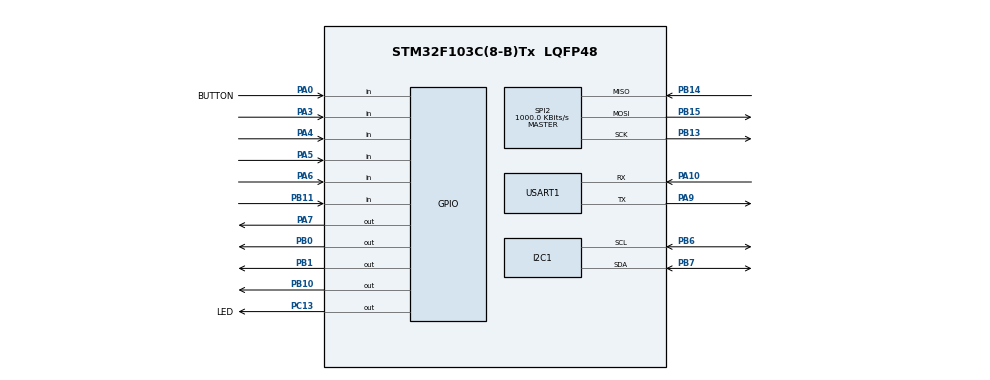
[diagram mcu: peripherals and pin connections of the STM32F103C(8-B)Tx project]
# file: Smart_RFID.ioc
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Mcu.Family=STM32F1
Mcu.Name=STM32F103C(8-B)Tx
Mcu.Package=LQFP48
NVIC.PriorityGroup=NVIC_PRIORITYGROUP_4
PA0-WKUP.GPIO_Label=BUTTON
PA0-WKUP.GPIO_PuPd=GPIO_PULLUP
PA0-WKUP.Signal=GPIO_Input
PA10.Mode=Asynchronous
PA10.Signal=USART1_RX
PA13.Mode=Serial_Wire
PA13.Signal=SYS_JTMS-SWDIO
PA14.Mode=Serial_Wire
PA14.Signal=SYS_JTCK-SWCLK
PA3.GPIO_PuPd=GPIO_PULLUP
PA3.Signal=GPIO_Input
PA4.GPIO_PuPd=GPIO_PULLUP
PA4.Signal=GPIO_Input
PA5.GPIO_PuPd=GPIO_PULLUP
PA5.Signal=GPIO_Input
PA6.GPIO_PuPd=GPIO_PULLUP
PA6.Signal=GPIO_Input
PA7.Signal=GPIO_Output
PA9.Mode=Asynchronous
PA9.Signal=USART1_TX
PB0.Signal=GPIO_Output
PB1.Signal=GPIO_Output
PB10.Signal=GPIO_Output
PB11.GPIO_PuPd=GPIO_PULLUP
PB11.Signal=GPIO_Input
PB13.Mode=Full_Duplex_Master
PB13.Signal=SPI2_SCK
PB14.Mode=Full_Duplex_Master
PB14.Signal=SPI2_MISO
PB15.Mode=Full_Duplex_Master
PB15.Signal=SPI2_MOSI
PB6.Mode=I2C
PB6.Signal=I2C1_SCL
PB7.Mode=I2C
PB7.Signal=I2C1_SDA
PC13-TAMPER-RTC.GPIO_Label=LED
PC13-TAMPER-RTC.Signal=GPIO_Output
PD0-OSC_IN.Mode=HSE-External-Oscillator
PD0-OSC_IN.Signal=RCC_OSC_IN
PD1-OSC_OUT.Mode=HSE-External-Oscillator
PD1-OSC_OUT.Signal=RCC_OSC_OUT
ProjectManager.HeapSize=0x200
ProjectManager.StackSize=0x400
ProjectManager.TargetToolchain=STM32CubeIDE
RCC.APB1Freq_Value=8000000
RCC.APB2Freq_Value=8000000
SPI2.BaudRatePrescaler=SPI_BAUDRATEPRESCALER_8
SPI2.CalculateBaudRate=1000.0 KBits/s
SPI2.Direction=SPI_DIRECTION_2LINES
SPI2.Mode=SPI_MODE_MASTER
SPI2.VirtualType=VM_MASTER
USART1.VirtualMode=VM_ASYNC
board=custom

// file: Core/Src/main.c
/* USER CODE BEGIN Header */
/**
  ******************************************************************************
  * @file           : main.c
  * @brief          : Main program body
  ******************************************************************************
  * @attention
  *
  * Copyright (c) 2025 STMicroelectronics.
  * All rights reserved.
  *
  * This software is licensed under terms that can be found in the LICENSE file
  * in the root directory of this software component.
  * If no LICENSE file comes with this software, it is provided AS-IS.
  *
  ******************************************************************************
  */
/* USER CODE END Header */
#include "main.h"

/* USER CODE BEGIN Includes */
#include "i2clcd.h"
#include "MFRC522.h"
#include <stdio.h>
#include "rtc.h"
/* USER CODE END Includes */

/* USER CODE BEGIN PM */
char str1[17]={'\0'};
char str2[17]={'\0'};
char str3[17]={'\0'};
char str4[17]={'\0'};
/* USER CODE END PM */

I2C_HandleTypeDef hi2c1;

SPI_HandleTypeDef hspi2;

UART_HandleTypeDef huart1;

void SystemClock_Config(void);
static void MX_GPIO_Init(void);
static void MX_USART1_UART_Init(void);
static void MX_I2C1_Init(void);
static void MX_SPI2_Init(void);

/* USER CODE BEGIN 0 */
uint8_t keyPad_char;
char data[3] = "00";
char uart_rx_buffer[10];
char uart_tx_buffer[64];
uint8_t hour, min, sec;
void send_uart(const char *msg) {
    HAL_UART_Transmit(&huart1, (uint8_t *)msg, strlen(msg), HAL_MAX_DELAY);
}

void get_time_from_user() {
    send_uart("Enter time in HHMMSS format (e.g., 145959):\r\n");
    HAL_UART_Receive(&huart1, (uint8_t *)uart_rx_buffer, 6, HAL_MAX_DELAY);

    hour = (uart_rx_buffer[0] - '0') * 10 + (uart_rx_buffer[1] - '0');
    min  = (uart_rx_buffer[2] - '0') * 10 + (uart_rx_buffer[3] - '0');
    sec  = (uart_rx_buffer[4] - '0') * 10 + (uart_rx_buffer[5] - '0');

    DS1307_SetHour(hour);
    DS1307_SetMinute(min);
    DS1307_SetSecond(sec);
    send_uart("Time set!\r\n");
}

void display_time_loop() {
    while (1) {
        hour = DS1307_GetHour();
        min = DS1307_GetMinute();
        sec = DS1307_GetSecond();

        snprintf(uart_tx_buffer, sizeof(uart_tx_buffer), "Time: %02d:%02d:%02d\r\n", hour, min, sec);
        send_uart(uart_tx_buffer);

        HAL_Delay(1000);
    }
}
/* USER CODE END 0 */

int main(void)
{

  /* USER CODE BEGIN 1 */
	int comm_error_count = 0;
  /* USER CODE END 1 */

  /* MCU Configuration--------------------------------------------------------*/

  /* Reset of all peripherals, Initializes the Flash interface and the Systick. */
  HAL_Init();

  /* Configure the system clock */
  SystemClock_Config();

  /* Initialize all configured peripherals */
  MX_GPIO_Init();
  MX_USART1_UART_Init();
  MX_I2C1_Init();
  MX_SPI2_Init();
  /* USER CODE BEGIN 2 */
  const char *DAYS_OF_WEEK[7] = { "Sun", "Mon", "Tue", "Wed", "Thur", "Fri", "Sat" };
  DS1307_Init(&hi2c1);
  lcd_init();
  lcd_clear();
  DS1307_SetTimeZone(+8, 00);
  DS1307_SetDate(29);
  DS1307_SetMonth(2);
  DS1307_SetYear(2024);
  DS1307_SetDayOfWeek(4);
  DS1307_SetHour(23);
  DS1307_SetMinute(59);
  DS1307_SetSecond(30);

  lcd_write("Group 12"		  , 0, 0);  // line 0, column 0
  lcd_write("RFID CARD READER", 1, 0);  // line 1, column 0

  HAL_GPIO_WritePin(RC522_Rst_GPIO_Port, RC522_Rst_Pin, GPIO_PIN_SET);

  HAL_Delay(100);
  lcd_clear();

  MFRC522_Reset();
  MFRC522_Init();
  AntennaOn();
  HAL_Delay(1000);

  uint8_t version = Read_MFRC522(VersionReg);
  sprintf(str2,"ver:%x", version);

  if (version == 0x91 || version == 0x92)
  {
	lcd_write(str2, 0, 0);  // line 0, column 0
    lcd_write("RC522 ready!", 1, 0);
//    HAL_UART_Transmit(&huart2, (uint8_t *)"RC522 initialized OK\r\n", 23, HAL_MAX_DELAY);
  }
  else
  {
//	lcd_write(str2, 0, 0);  // line 0, column 0
//    lcd_write("RC522 FAIL!", 1, 0);
////    HAL_UART_Transmit(&huart2, (uint8_t *)"RC522 init failed\r\n", 20, HAL_MAX_DELAY);
//    HAL_Delay(2000);
//    HAL_NVIC_SystemReset();  // Reset lại vi điều khiển nếu RC522 không phản hồi đúng
  }

  HAL_Delay(1000);
  lcd_clear();
  /* USER CODE END 2 */

  /* Infinite loop */
  while (1)
  {
	  u_char TagType[2];
	  	  u_char serNum[5];  // 4 bytes UID + checksum

	  	  uint8_t date = DS1307_GetDate();
	  	  uint8_t month = DS1307_GetMonth();
	  	  uint16_t year = DS1307_GetYear();
	  	  uint8_t dow = DS1307_GetDayOfWeek();
	  	  uint8_t hour = DS1307_GetHour();
	  	  uint8_t minute = DS1307_GetMinute();
	  	  uint8_t second = DS1307_GetSecond();
	  	  int8_t zone_hr = DS1307_GetTimeZoneHour();
	  	  uint8_t zone_min = DS1307_GetTimeZoneMin();
	  	  sprintf(str1, "Time: %u:%u:%u",hour, minute, second);
	  	  sprintf(str2, "%s, %u/%u/%u", DAYS_OF_WEEK[dow], date, month, year);
	  	  /* May show warning below. Ignore and proceed. */
	  	  lcd_write(str1, 0, 0);
	  	  lcd_write(str2, 1, 0);
	  //	  HAL_Delay(250);
	  	keyPad_char = get_keyPadChar();
	  	sprintf(str1, "keyPad_char: %u",keyPad_char);
	  	if(keyPad_char != '\0')
	  	{
	  		lcd_write(str1, 0, 10);
	  		registerKeyPress(keyPad_char, data, 2);

	  	}

	  //	  u_char status;
	  //	  uint8_t ver = Read_MFRC522(VersionReg);
	  //
	  //	 	  // Tạo chuỗi chứa dòng thông báo
	  //	 	  char buffer[17];  // LCD 16 ký tự + null
	  //	 	  sprintf(buffer, "Ver: 0x%02X", ver); // VD: "Ver: 0x91"
	  //
	  //	 	  lcd_write(buffer, 0, 0);
	  //	 	  if (ver == 0x92 && comm_error_count < 20) {
	  //
	  //	   		  comm_error_count++;
	  //	 		  status = MFRC522_Request(PICC_REQALL, TagType);
	  //	 		  	  sprintf(str2,"Ver:%x", status);
	  //	 		  	  lcd_write(str2, 0, 10);
	  //	 		  	  HAL_Delay(1000);
	  //	 		  	  if (status == 1) {
	  //	 		  	      lcd_write("No card", 1, 0);
	  //	 		  	  }
	  //	 		  	  else if (status == 2) {
	  //	 		  		  lcd_write("Comm error", 1, 0);
	  //	 		  	  }
	  //	 		  	  else if (status == MI_OK)
	  //	 		  	  {
	  //	 		  		  status = MFRC522_Anticoll(serNum);
	  //	 		  		  if (status == MI_OK)
	  //	 		  		  {
	  //	 		  			  // Format UID
	  //	 		  			  char uidStr[20];
	  //	 		  			  snprintf(uidStr, sizeof(uidStr), "%02X%02X%02X%02X",
	  //	 		  					   serNum[0], serNum[1], serNum[2], serNum[3]);
	  //
	  //	 		  			  // Display on LCD
	  //	 		  			  lcd_clear();
	  //	 		  			  lcd_write("Card UID:", 0, 0);
	  //	 		  			  lcd_write(uidStr, 1, 0);
	  //
	  //	 		  			  HAL_Delay(2000); // Wait a bit before next read
	  //	 		  			  lcd_clear();
	  //	 		  			  lcd_write("Scan again...", 0, 0);
	  //	 		  		  }
	  //	 		  	  }
	  //	 	  }
	  //	 	  else if (ver != 0x92 && comm_error_count < 20) {
	  //
	  //	 	  }
	  //	 	  else  if (comm_error_count >= 20){
	  //	 		  lcd_clear();
	  //	 		  lcd_write("Too many errors", 0, 0);
	  //	 		  lcd_write("System reset...", 1, 0);
	  //	 		  HAL_Delay(2000);
	  //	 		  NVIC_SystemReset();  // Reset MCU
	  //	 	  }
	  //
	  //	 	  HAL_Delay(1000);
	  //	 	  lcd_clear();
  }
}

void SystemClock_Config(void)
{
  RCC_OscInitTypeDef RCC_OscInitStruct = {0};
  RCC_ClkInitTypeDef RCC_ClkInitStruct = {0};

  /** Initializes the RCC Oscillators according to the specified parameters
  * in the RCC_OscInitTypeDef structure.
  */
  RCC_OscInitStruct.OscillatorType = RCC_OSCILLATORTYPE_HSI;
  RCC_OscInitStruct.HSIState = RCC_HSI_ON;
  RCC_OscInitStruct.HSICalibrationValue = RCC_HSICALIBRATION_DEFAULT;
  RCC_OscInitStruct.PLL.PLLState = RCC_PLL_NONE;
  if (HAL_RCC_OscConfig(&RCC_OscInitStruct) != HAL_OK)
  {
    Error_Handler();
  }

  /** Initializes the CPU, AHB and APB buses clocks
  */
  RCC_ClkInitStruct.ClockType = RCC_CLOCKTYPE_HCLK|RCC_CLOCKTYPE_SYSCLK
                              |RCC_CLOCKTYPE_PCLK1|RCC_CLOCKTYPE_PCLK2;
  RCC_ClkInitStruct.SYSCLKSource = RCC_SYSCLKSOURCE_HSI;
  RCC_ClkInitStruct.AHBCLKDivider = RCC_SYSCLK_DIV1;
  RCC_ClkInitStruct.APB1CLKDivider = RCC_HCLK_DIV1;
  RCC_ClkInitStruct.APB2CLKDivider = RCC_HCLK_DIV1;

  if (HAL_RCC_ClockConfig(&RCC_ClkInitStruct, FLASH_LATENCY_0) != HAL_OK)
  {
    Error_Handler();
  }
}

static void MX_I2C1_Init(void)
{

  hi2c1.Instance = I2C1;
  hi2c1.Init.ClockSpeed = 100000;
  hi2c1.Init.DutyCycle = I2C_DUTYCYCLE_2;
  hi2c1.Init.OwnAddress1 = 0;
  hi2c1.Init.AddressingMode = I2C_ADDRESSINGMODE_7BIT;
  hi2c1.Init.DualAddressMode = I2C_DUALADDRESS_DISABLE;
  hi2c1.Init.OwnAddress2 = 0;
  hi2c1.Init.GeneralCallMode = I2C_GENERALCALL_DISABLE;
  hi2c1.Init.NoStretchMode = I2C_NOSTRETCH_DISABLE;
  if (HAL_I2C_Init(&hi2c1) != HAL_OK)
  {
    Error_Handler();
  }

}

static void MX_SPI2_Init(void)
{

  /* SPI2 parameter configuration*/
  hspi2.Instance = SPI2;
  hspi2.Init.Mode = SPI_MODE_MASTER;
  hspi2.Init.Direction = SPI_DIRECTION_2LINES;
  hspi2.Init.DataSize = SPI_DATASIZE_8BIT;
  hspi2.Init.CLKPolarity = SPI_POLARITY_LOW;
  hspi2.Init.CLKPhase = SPI_PHASE_1EDGE;
  hspi2.Init.NSS = SPI_NSS_SOFT;
  hspi2.Init.BaudRatePrescaler = SPI_BAUDRATEPRESCALER_8;
  hspi2.Init.FirstBit = SPI_FIRSTBIT_MSB;
  hspi2.Init.TIMode = SPI_TIMODE_DISABLE;
  hspi2.Init.CRCCalculation = SPI_CRCCALCULATION_DISABLE;
  hspi2.Init.CRCPolynomial = 10;
  if (HAL_SPI_Init(&hspi2) != HAL_OK)
  {
    Error_Handler();
  }

}

static void MX_USART1_UART_Init(void)
{

  huart1.Instance = USART1;
  huart1.Init.BaudRate = 115200;
  huart1.Init.WordLength = UART_WORDLENGTH_8B;
  huart1.Init.StopBits = UART_STOPBITS_1;
  huart1.Init.Parity = UART_PARITY_NONE;
  huart1.Init.Mode = UART_MODE_TX_RX;
  huart1.Init.HwFlowCtl = UART_HWCONTROL_NONE;
  huart1.Init.OverSampling = UART_OVERSAMPLING_16;
  if (HAL_UART_Init(&huart1) != HAL_OK)
  {
    Error_Handler();
  }

}

static void MX_GPIO_Init(void)
{
  GPIO_InitTypeDef GPIO_InitStruct = {0};

  /* GPIO Ports Clock Enable */
  __HAL_RCC_GPIOC_CLK_ENABLE();
  __HAL_RCC_GPIOD_CLK_ENABLE();
  __HAL_RCC_GPIOA_CLK_ENABLE();
  __HAL_RCC_GPIOB_CLK_ENABLE();

  /*Configure GPIO pin Output Level */
  HAL_GPIO_WritePin(LED_GPIO_Port, LED_Pin, GPIO_PIN_RESET);

  /*Configure GPIO pin Output Level */
  HAL_GPIO_WritePin(GPIOA, GPIO_PIN_7, GPIO_PIN_RESET);

  /*Configure GPIO pin Output Level */
  HAL_GPIO_WritePin(GPIOB, GPIO_PIN_0|GPIO_PIN_1|GPIO_PIN_10, GPIO_PIN_RESET);

  /*Configure GPIO pin : LED_Pin */
  GPIO_InitStruct.Pin = LED_Pin;
  GPIO_InitStruct.Mode = GPIO_MODE_OUTPUT_PP;
  GPIO_InitStruct.Pull = GPIO_NOPULL;
  GPIO_InitStruct.Speed = GPIO_SPEED_FREQ_LOW;
  HAL_GPIO_Init(LED_GPIO_Port, &GPIO_InitStruct);

  /*Configure GPIO pins : BUTTON_Pin PA3 PA4 PA5
                           PA6 */
  GPIO_InitStruct.Pin = BUTTON_Pin|GPIO_PIN_3|GPIO_PIN_4|GPIO_PIN_5
                          |GPIO_PIN_6;
  GPIO_InitStruct.Mode = GPIO_MODE_INPUT;
  GPIO_InitStruct.Pull = GPIO_PULLUP;
  HAL_GPIO_Init(GPIOA, &GPIO_InitStruct);

  /*Configure GPIO pin : PA7 */
  GPIO_InitStruct.Pin = GPIO_PIN_7;
  GPIO_InitStruct.Mode = GPIO_MODE_OUTPUT_PP;
  GPIO_InitStruct.Pull = GPIO_NOPULL;
  GPIO_InitStruct.Speed = GPIO_SPEED_FREQ_LOW;
  HAL_GPIO_Init(GPIOA, &GPIO_InitStruct);

  /*Configure GPIO pins : PB0 PB1 PB10 */
  GPIO_InitStruct.Pin = GPIO_PIN_0|GPIO_PIN_1|GPIO_PIN_10;
  GPIO_InitStruct.Mode = GPIO_MODE_OUTPUT_PP;
  GPIO_InitStruct.Pull = GPIO_NOPULL;
  GPIO_InitStruct.Speed = GPIO_SPEED_FREQ_LOW;
  HAL_GPIO_Init(GPIOB, &GPIO_InitStruct);

  /*Configure GPIO pin : PB11 */
  GPIO_InitStruct.Pin = GPIO_PIN_11;
  GPIO_InitStruct.Mode = GPIO_MODE_INPUT;
  GPIO_InitStruct.Pull = GPIO_PULLUP;
  HAL_GPIO_Init(GPIOB, &GPIO_InitStruct);

}

void Error_Handler(void)
{
  __disable_irq();
  while (1)
  {
  }
}
